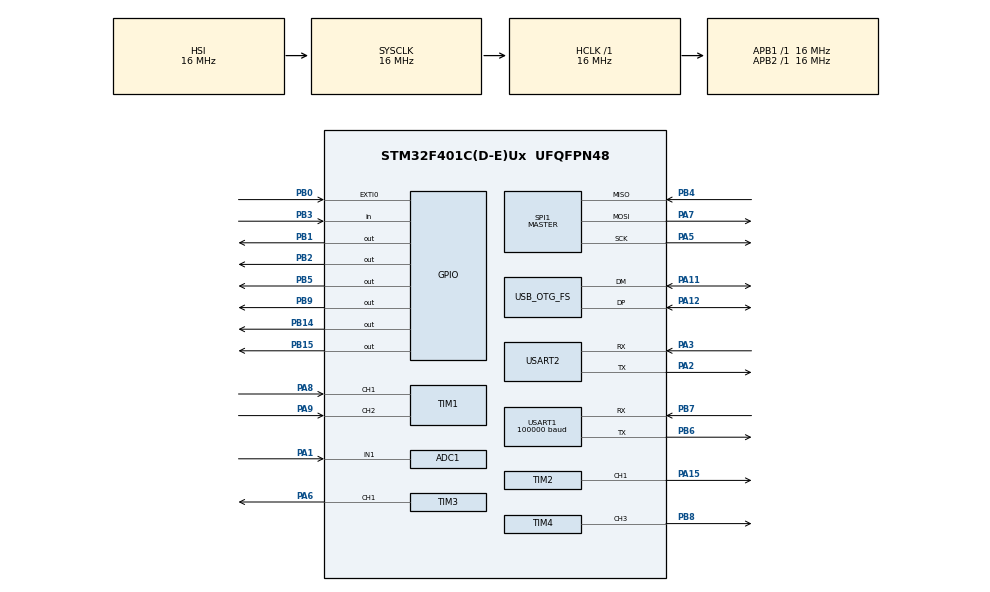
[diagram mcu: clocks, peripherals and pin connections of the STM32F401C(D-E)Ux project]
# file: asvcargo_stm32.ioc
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ADC1.Channel-1\#ChannelRegularConversion=ADC_CHANNEL_1
ADC1.NbrOfConversionFlag=1
ADC1.Rank-1\#ChannelRegularConversion=1
ADC1.SamplingTime-1\#ChannelRegularConversion=ADC_SAMPLETIME_3CYCLES
ADC1.master=1
Dma.Request0=USART1_RX
Dma.USART1_RX.0.Direction=DMA_PERIPH_TO_MEMORY
Dma.USART1_RX.0.FIFOMode=DMA_FIFOMODE_DISABLE
Dma.USART1_RX.0.Instance=DMA2_Stream2
Dma.USART1_RX.0.MemDataAlignment=DMA_MDATAALIGN_BYTE
Dma.USART1_RX.0.MemInc=DMA_MINC_ENABLE
Dma.USART1_RX.0.Mode=DMA_CIRCULAR
Dma.USART1_RX.0.PeriphDataAlignment=DMA_PDATAALIGN_BYTE
Dma.USART1_RX.0.PeriphInc=DMA_PINC_DISABLE
Dma.USART1_RX.0.Priority=DMA_PRIORITY_MEDIUM
Mcu.Family=STM32F4
Mcu.Name=STM32F401C(D-E)Ux
Mcu.Package=UFQFPN48
NVIC.ADC_IRQn=true\:1\:0\:true\:false\:true\:true\:true\:true
NVIC.DMA2_Stream2_IRQn=true\:0\:0\:false\:false\:true\:false\:true\:true
NVIC.OTG_FS_IRQn=true\:0\:0\:false\:false\:true\:false\:true\:true
NVIC.PriorityGroup=NVIC_PRIORITYGROUP_4
NVIC.TIM1_BRK_TIM9_IRQn=true\:1\:0\:true\:false\:true\:true\:true\:true
NVIC.TIM1_CC_IRQn=true\:1\:0\:true\:false\:true\:true\:true\:true
NVIC.TIM1_TRG_COM_TIM11_IRQn=true\:1\:0\:true\:false\:true\:true\:true\:true
NVIC.TIM1_UP_TIM10_IRQn=true\:1\:0\:true\:false\:true\:true\:true\:true
NVIC.TIM5_IRQn=true\:1\:0\:true\:false\:true\:true\:true\:true
PA1.Signal=ADCx_IN1
PA11.Mode=Device_Only
PA11.Signal=USB_OTG_FS_DM
PA12.Mode=Device_Only
PA12.Signal=USB_OTG_FS_DP
PA15.Signal=S_TIM2_CH1_ETR
PA2.Mode=Asynchronous
PA2.Signal=USART2_TX
PA3.Mode=Asynchronous
PA3.Signal=USART2_RX
PA5.Mode=Full_Duplex_Master
PA5.Signal=SPI1_SCK
PA6.Signal=S_TIM3_CH1
PA7.Mode=Full_Duplex_Master
PA7.Signal=SPI1_MOSI
PA8.GPIO_PuPd=GPIO_PULLUP
PA8.Signal=S_TIM1_CH1
PA9.GPIO_PuPd=GPIO_PULLUP
PA9.Signal=S_TIM1_CH2
PB0.Signal=GPXTI0
PB1.Signal=GPIO_Output
PB14.Signal=GPIO_Output
PB15.Signal=GPIO_Output
PB2.Signal=GPIO_Output
PB3.Signal=GPIO_Input
PB4.Mode=Full_Duplex_Master
PB4.Signal=SPI1_MISO
PB5.Signal=GPIO_Output
PB6.Mode=Asynchronous
PB6.Signal=USART1_TX
PB7.Mode=Asynchronous
PB7.Signal=USART1_RX
PB8.Signal=S_TIM4_CH3
PB9.Signal=GPIO_Output
PC14-OSC32_IN.Mode=LSE-External-Oscillator
PC14-OSC32_IN.Signal=RCC_OSC32_IN
PC15-OSC32_OUT.Mode=LSE-External-Oscillator
PC15-OSC32_OUT.Signal=RCC_OSC32_OUT
PH0\ -\ OSC_IN.Mode=HSE-External-Oscillator
PH0\ -\ OSC_IN.Signal=RCC_OSC_IN
PH1\ -\ OSC_OUT.Mode=HSE-External-Oscillator
PH1\ -\ OSC_OUT.Signal=RCC_OSC_OUT
ProjectManager.HeapSize=0x200
ProjectManager.StackSize=0x400
ProjectManager.TargetToolchain=STM32CubeIDE
RCC.48MHZClocksFreq_Value=48000000
RCC.AHBFreq_Value=16000000
RCC.APB1Freq_Value=16000000
RCC.APB2Freq_Value=16000000
RCC.CortexFreq_Value=16000000
RCC.HSE_VALUE=25000000
RCC.HSI_VALUE=16000000
RCC.PLLM=15
RCC.PLLN=144
RCC.PLLQ=5
RCC.SYSCLKFreq_VALUE=16000000
RCC.VCOOutputFreq_Value=240000000
SH.ADCx_IN1.0=ADC1_IN1,IN1
SH.S_TIM1_CH1.0=TIM1_CH1,Encoder_Interface
SH.S_TIM1_CH2.0=TIM1_CH2,Encoder_Interface
SH.S_TIM2_CH1_ETR.0=TIM2_CH1,PWM Generation1 CH1
SH.S_TIM3_CH1.0=TIM3_CH1,PWM Generation1 CH1
SH.S_TIM4_CH3.0=TIM4_CH3,PWM Generation3 CH3
SPI1.Direction=SPI_DIRECTION_2LINES
SPI1.Mode=SPI_MODE_MASTER
SPI1.VirtualType=VM_MASTER
TIM1.ClockDivision=TIM_CLOCKDIVISION_DIV1
TIM1.EncoderMode=TIM_ENCODERMODE_TI12
TIM1.IC1Polarity=TIM_ICPOLARITY_RISING
TIM1.IC1Prescaler=TIM_ICPSC_DIV8
TIM1.IC2Polarity=TIM_ICPOLARITY_RISING
TIM1.IC2Prescaler=TIM_ICPSC_DIV8
TIM2.Channel-PWM\ Generation1\ CH1=TIM_CHANNEL_1
TIM2.Period=500-1
TIM3.Channel-PWM\ Generation1\ CH1=TIM_CHANNEL_1
TIM3.Period=20000-1
TIM3.Prescaler=16-1
TIM3.Pulse-PWM\ Generation1\ CH1=1500
TIM4.Channel-PWM\ Generation3\ CH3=TIM_CHANNEL_3
TIM4.Period=500-1
TIM4.Prescaler=0
TIM5.Period=20000-1
TIM5.Prescaler=16-1
USART1.BaudRate=100000
USART1.Parity=PARITY_EVEN
USART1.StopBits=STOPBITS_2
USART1.VirtualMode=VM_ASYNC
USART2.VirtualMode=VM_ASYNC
USB_DEVICE.CLASS_NAME_FS=CDC
USB_DEVICE.MANUFACTURER_STRING-CDC_FS=STMicroelectronics
USB_DEVICE.PID_CDC_FS=22336
USB_DEVICE.PRODUCT_STRING_CDC_FS=STM32ASVCargo
USB_DEVICE.VID-CDC_FS=1155
USB_DEVICE.VirtualMode-CDC_FS=Cdc
USB_DEVICE.VirtualModeFS=Cdc_FS
USB_OTG_FS.VirtualMode=Device_Only
VP_TIM5_VS_ClockSourceINT.Mode=Internal
VP_USB_DEVICE_VS_USB_DEVICE_CDC_FS.Mode=CDC_FS
board=custom

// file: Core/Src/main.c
/* USER CODE BEGIN Header */
/**
  ******************************************************************************
  * @file           : main.c
  * @brief          : Main program body
  ******************************************************************************
  * @attention
  *
  * Copyright (c) 2022 STMicroelectronics.
  * All rights reserved.
  *
  * This software is licensed under terms that can be found in the LICENSE file
  * in the root directory of this software component.
  * If no LICENSE file comes with this software, it is provided AS-IS.
  *
  ******************************************************************************
  */
/* USER CODE END Header */
#include "main.h"
#include "adc.h"
#include "dma.h"
#include "spi.h"
#include "tim.h"
#include "usart.h"
#include "usb_device.h"
#include "gpio.h"

/* USER CODE BEGIN Includes */
#include "usbd_cdc_if.h"
#include "sbus_decoder.h"
#include "usbd_def.h"
/* USER CODE END Includes */

/* USER CODE BEGIN PV */
uint8_t usbd_buf_recv[13];
char usbd_buf_send[128];
char pc_thrust[5];
char pc_rudder[5];
uint8_t sbus_buf[25];
uint32_t counter;
int16_t enc_count;
float rudder_angle;
int rudder_angle_to_send;
uint16_t adc_val;
float batt_mv;
RemoteControl_t rc;
ASV_t asv;
extern USBD_HandleTypeDef hUsbDeviceFS;
/* USER CODE END PV */

void SystemClock_Config(void);

/* USER CODE BEGIN 0 */
void RCUpdate(){
	if(rc_data.rawdata[7] < 1000)	rc.autonomous_mode = ASV_AUTO;
	if(rc_data.rawdata[7] > 1000)	rc.autonomous_mode = ASV_MANUAL;
	if(rc_data.rawdata[6] < 1000)	rc.fan_mode = FAN_ON;
	if(rc_data.rawdata[6] > 1000)	rc.fan_mode = FAN_OFF;
	if(rc_data.rawdata[5] < 1000)	rc.actuator_mode = ACTUATOR_ENABLE;
	if(rc_data.rawdata[5] > 1000)	rc.actuator_mode = ACTUATOR_DISABLE;

	rc.stk_y = rc_data.rawdata[1];
	rc.stk_x = rc_data.rawdata[0];

	rc.stk_y = (1035 - rc.stk_y)/ 695.0;
	rc.stk_x = (1000 - rc.stk_x)/ 693.0;

	if(rc.stk_y > 1) rc.stk_y = 1;
	if(rc.stk_y < -1) rc.stk_y = -1;
	if(rc.stk_x > 1) rc.stk_x = 1;
	if(rc.stk_x < -1) rc.stk_x = -1;
}
/* USER CODE END 0 */

int main(void)
{

  /* MCU Configuration--------------------------------------------------------*/

  /* Reset of all peripherals, Initializes the Flash interface and the Systick. */
  HAL_Init();

  /* Configure the system clock */
  SystemClock_Config();

  /* Initialize all configured peripherals */
  MX_GPIO_Init();
  MX_DMA_Init();
  MX_SPI1_Init();
  MX_TIM1_Init();
  MX_TIM3_Init();
  MX_TIM4_Init();
  MX_USART1_UART_Init();
  MX_USART2_UART_Init();
  MX_ADC1_Init();
  MX_USB_DEVICE_Init();
  MX_TIM2_Init();
  MX_TIM5_Init();
  /* USER CODE BEGIN 2 */
  HAL_TIM_Base_Start_IT(&htim5);
  HAL_UART_Receive_DMA(&huart1, sbus_buf, sizeof(sbus_buf));
  HAL_TIM_PWM_Start(&htim3, TIM_CHANNEL_1); //STEER
  HAL_TIM_PWM_Start(&htim4, TIM_CHANNEL_3); //THRUST
  HAL_TIM_PWM_Start(&htim2, TIM_CHANNEL_1); //THRUST
  HAL_TIM_Encoder_Start_IT(&htim1, TIM_CHANNEL_ALL);

  __HAL_TIM_SET_COMPARE(&htim3, TIM_CHANNEL_1, 1500);
  HAL_Delay(2000);
  __HAL_TIM_SET_COUNTER(&htim1, 0);
  /* USER CODE END 2 */

  /* Infinite loop */
  while (1)
  {

  }
}

void SystemClock_Config(void)
{
  RCC_OscInitTypeDef RCC_OscInitStruct = {0};
  RCC_ClkInitTypeDef RCC_ClkInitStruct = {0};

  /** Configure the main internal regulator output voltage
  */
  __HAL_RCC_PWR_CLK_ENABLE();
  __HAL_PWR_VOLTAGESCALING_CONFIG(PWR_REGULATOR_VOLTAGE_SCALE2);

  /** Initializes the RCC Oscillators according to the specified parameters
  * in the RCC_OscInitTypeDef structure.
  */
  RCC_OscInitStruct.OscillatorType = RCC_OSCILLATORTYPE_HSI|RCC_OSCILLATORTYPE_HSE;
  RCC_OscInitStruct.HSEState = RCC_HSE_ON;
  RCC_OscInitStruct.HSIState = RCC_HSI_ON;
  RCC_OscInitStruct.HSICalibrationValue = RCC_HSICALIBRATION_DEFAULT;
  RCC_OscInitStruct.PLL.PLLState = RCC_PLL_ON;
  RCC_OscInitStruct.PLL.PLLSource = RCC_PLLSOURCE_HSE;
  RCC_OscInitStruct.PLL.PLLM = 15;
  RCC_OscInitStruct.PLL.PLLN = 144;
  RCC_OscInitStruct.PLL.PLLP = RCC_PLLP_DIV2;
  RCC_OscInitStruct.PLL.PLLQ = 5;
  if (HAL_RCC_OscConfig(&RCC_OscInitStruct) != HAL_OK)
  {
    Error_Handler();
  }

  /** Initializes the CPU, AHB and APB buses clocks
  */
  RCC_ClkInitStruct.ClockType = RCC_CLOCKTYPE_HCLK|RCC_CLOCKTYPE_SYSCLK
                              |RCC_CLOCKTYPE_PCLK1|RCC_CLOCKTYPE_PCLK2;
  RCC_ClkInitStruct.SYSCLKSource = RCC_SYSCLKSOURCE_HSI;
  RCC_ClkInitStruct.AHBCLKDivider = RCC_SYSCLK_DIV1;
  RCC_ClkInitStruct.APB1CLKDivider = RCC_HCLK_DIV1;
  RCC_ClkInitStruct.APB2CLKDivider = RCC_HCLK_DIV1;

  if (HAL_RCC_ClockConfig(&RCC_ClkInitStruct, FLASH_LATENCY_0) != HAL_OK)
  {
    Error_Handler();
  }
}

/* USER CODE BEGIN 4 */
void HAL_UART_RxCpltCallback(UART_HandleTypeDef *huart){
	if(huart->Instance == USART1){
		sbus_decoder_get_buf(sbus_buf, sizeof(sbus_buf));
	}
}

void HAL_TIM_PeriodElapsedCallback(TIM_HandleTypeDef *htim){
	if(htim->Instance == TIM5){
		RCUpdate();
		HAL_ADC_Start_IT(&hadc1);
//		counter = __HAL_TIM_GET_COUNTER(&htim1);
		if(rc.autonomous_mode == ASV_AUTO){
			if(hUsbDeviceFS.dev_state == USBD_STATE_CONFIGURED){
				if(usbd_buf_recv[0] == 'A' && usbd_buf_recv[1] == 'B' && usbd_buf_recv[11] == 'B' && usbd_buf_recv[12] == 'A'){
					memcpy(pc_rudder, usbd_buf_recv + 2, 4);
					pc_rudder[4] = 0;
					memcpy(pc_thrust, usbd_buf_recv + 7, 4);
					pc_thrust[4] = 0;
					asv.thrust = atoi(pc_thrust);
					asv.thrust = asv.thrust - 1500;
					asv.steer = atoi(pc_rudder);
				}
		//		memset(usbd_buf_recv, NULL, sizeof(usbd_buf_recv));
			}else{
				memset(usbd_buf_recv, NULL, sizeof(usbd_buf_recv));
				asv.thrust = 0;
				asv.steer = 1500;
			}

		}else if(rc.autonomous_mode == ASV_MANUAL){
			asv.thrust = rc.stk_y * 500;
			asv.steer = (rc.stk_x * 500) + 1500;
		}

		if(rc.fan_mode == FAN_ON){
			HAL_GPIO_WritePin(GPIOB, GPIO_PIN_9, GPIO_PIN_SET);
		}else if(rc.fan_mode == FAN_OFF){
			HAL_GPIO_WritePin(GPIOB, GPIO_PIN_9, GPIO_PIN_RESET);
		}

		if(rc.actuator_mode == ACTUATOR_ENABLE){
			HAL_GPIO_WritePin(GPIOB, GPIO_PIN_1, GPIO_PIN_SET);
		}else if(rc.actuator_mode == ACTUATOR_DISABLE){
			HAL_GPIO_WritePin(GPIOB, GPIO_PIN_1, GPIO_PIN_RESET);
		}

		if(asv.thrust >= 0){
			__HAL_TIM_SET_COMPARE(&htim2, TIM_CHANNEL_1, asv.thrust);
			__HAL_TIM_SET_COMPARE(&htim4, TIM_CHANNEL_3, 0);
		}else if(asv.thrust < 0){
			asv.thrust = asv.thrust * (-1);
			__HAL_TIM_SET_COMPARE(&htim4, TIM_CHANNEL_3, asv.thrust);
			__HAL_TIM_SET_COMPARE(&htim2, TIM_CHANNEL_1, 0);
		}
		sprintf(usbd_buf_send, "%d", rudder_angle_to_send);
//		*usbd_buf_send = ["Hello wrld"];
		CDC_Transmit_FS((uint8_t*)usbd_buf_send, 7);
		__HAL_TIM_SET_COMPARE(&htim3, TIM_CHANNEL_1, asv.steer);
	}
}

void HAL_TIM_IC_CaptureCallback(TIM_HandleTypeDef *htim){
	if(htim->Instance == TIM1){
		counter = __HAL_TIM_GET_COUNTER(&htim1);
		enc_count = (int16_t)counter / 4;
		rudder_angle = (enc_count / 600.00 * 360.00);
		rudder_angle_to_send = rudder_angle * 100;
	}
}

void HAL_ADC_ConvCpltCallback(ADC_HandleTypeDef* hadc)
{
	adc_val = HAL_ADC_GetValue(&hadc1);
	batt_mv = adc_val * 0.0075;
  /*If continuousconversion mode is DISABLED uncomment below*/
//  HAL_ADC_Start_IT (&hadc1);
}

/* USER CODE END 4 */

void Error_Handler(void)
{
  __disable_irq();
  while (1)
  {
  }
}
